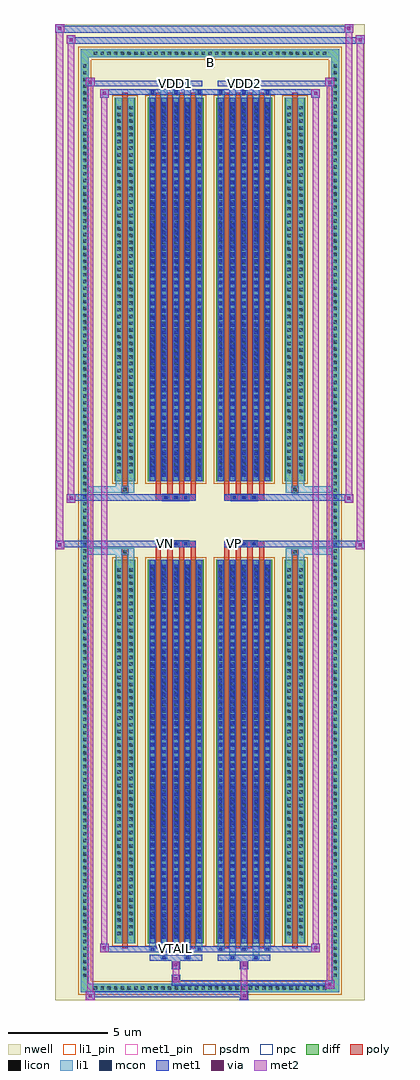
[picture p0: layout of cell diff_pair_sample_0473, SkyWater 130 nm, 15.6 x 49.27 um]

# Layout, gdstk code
import gdstk
lib = gdstk.Library(unit=1e-6, precision=5e-09)
def R(c, l, rs):  # rectangles x0, y0, x1, y1
    for r in rs: c.add(gdstk.rectangle(r[:2], r[2:], *l))
def A(c, l, x, y, w, h, nx, ny, dx, dy):  # array of equal rectangles
    R(c, l, [(x+i*dx, y+j*dy, x+i*dx+w, y+j*dy+h) for i in range(nx) for j in range(ny)])
def P(c, l, *ps):  # polygons
    for p in ps: c.add(gdstk.Polygon(p, *l))
nwell = (64, 20)
diff = (65, 20)
poly = (66, 20)
licon = (66, 44)
li1_pin = (67, 16)
li1 = (67, 20)
mcon = (67, 44)
met1_pin = (68, 16)
met1 = (68, 20)
via = (68, 44)
met2 = (69, 20)
psdm = (94, 20)
npc = (95, 20)

diff_pair_sample_0473 = lib.new_cell('diff_pair_sample_0473')
R(diff_pair_sample_0473, nwell, [(-7.8,-24.2,7.8,25.07), (-5.12,-22.39,-0.01,-0.805), (0.01,-22.39,5.12,-0.805), (-5.12,0.805,-0.01,22.39), (0.01,0.805,5.12,22.39)])
A(diff_pair_sample_0473, diff, -5.985, -23.8, 0.41, 0.41, 35, 2, 0.34, 47.19)
A(diff_pair_sample_0473, diff, -6.53, -23.155, 0.41, 0.41, 1, 136, 0, 0.34)
A(diff_pair_sample_0473, diff, 6.12, -23.155, 0.41, 0.41, 1, 136, 0, 0.34)
R(diff_pair_sample_0473, diff, [(-5.985,-23.8,5.985,-23.39), (-6.53,-23.155,-6.12,23.155), (6.12,-23.155,6.53,23.155), (-4.81,-21.345,-3.77,-1.985), (-3.13,-21.345,-0.32,-1.985), (0.32,-21.345,3.13,-1.985), (3.77,-21.345,4.81,-1.985), (-4.81,1.985,-3.77,21.345), (-3.13,1.985,-0.32,21.345), (0.32,1.985,3.13,21.345), (3.77,1.985,4.81,21.345), (-5.985,23.39,5.985,23.8)])
P(diff_pair_sample_0473, diff, [(6.53,23.8),(-6.53,23.8),(-6.53,-23.39),(-6.12,-23.39),(-6.12,23.39),(6.12,23.39),(6.12,-23.39),(-6.12,-23.39),(-6.53,-23.39),(-6.53,-23.8),(6.53,-23.8)])
A(diff_pair_sample_0473, poly, -2.74, -21.595, 0.26, 19.86, 4, 2, 0.59, 23.33)
A(diff_pair_sample_0473, poly, 0.71, -21.595, 0.26, 19.86, 4, 2, 0.59, 23.33)
A(diff_pair_sample_0473, poly, -2.74, -1.735, 0.26, 0.4, 4, 2, 0.59, 3.07)
A(diff_pair_sample_0473, poly, 0.71, -1.735, 0.26, 0.4, 4, 2, 0.59, 3.07)
A(diff_pair_sample_0473, poly, -2.39, -1.335, 0.33, 0.33, 3, 2, 0.5, 2.34)
A(diff_pair_sample_0473, poly, 1.06, -1.335, 0.33, 0.33, 3, 2, 0.5, 2.34)
R(diff_pair_sample_0473, poly, [(-4.42,-21.595,-4.16,-1.735), (4.16,-21.595,4.42,-1.735), (-4.455,-1.735,-4.125,-1.405), (-4.455,-1.735,-4.125,-1.405), (4.125,-1.735,4.455,-1.405), (4.125,-1.735,4.455,-1.405), (-2.74,-1.335,-0.71,-1.005), (0.71,-1.335,2.74,-1.005), (-2.74,1.005,-0.71,1.335), (0.71,1.005,2.74,1.335), (-4.455,1.405,-4.125,1.735), (-4.455,1.405,-4.125,1.735), (4.125,1.405,4.455,1.735), (4.125,1.405,4.455,1.735), (-4.42,1.735,-4.16,21.595), (4.16,1.735,4.42,21.595)])
A(diff_pair_sample_0473, licon, -5.865, -23.68, 0.17, 0.17, 35, 2, 0.34, 47.19)
A(diff_pair_sample_0473, licon, -6.41, -23.035, 0.17, 0.17, 1, 136, 0, 0.34)
A(diff_pair_sample_0473, licon, 6.24, -23.035, 0.17, 0.17, 1, 136, 0, 0.34)
A(diff_pair_sample_0473, licon, -4.67, -20.93, 0.17, 0.17, 1, 55, 0, 0.34)
A(diff_pair_sample_0473, licon, -4.08, -20.93, 0.17, 0.17, 1, 55, 0, 0.34)
A(diff_pair_sample_0473, licon, -2.99, -20.93, 0.17, 0.17, 5, 55, 0.59, 0.34)
A(diff_pair_sample_0473, licon, 0.46, -20.93, 0.17, 0.17, 5, 55, 0.59, 0.34)
A(diff_pair_sample_0473, licon, 3.91, -20.93, 0.17, 0.17, 1, 55, 0, 0.34)
A(diff_pair_sample_0473, licon, 4.5, -20.93, 0.17, 0.17, 1, 55, 0, 0.34)
A(diff_pair_sample_0473, licon, -2.31, -1.255, 0.17, 0.17, 3, 2, 0.5, 2.34)
A(diff_pair_sample_0473, licon, 1.14, -1.255, 0.17, 0.17, 3, 2, 0.5, 2.34)
A(diff_pair_sample_0473, licon, -4.67, 2.4, 0.17, 0.17, 1, 55, 0, 0.34)
A(diff_pair_sample_0473, licon, -4.08, 2.4, 0.17, 0.17, 1, 55, 0, 0.34)
A(diff_pair_sample_0473, licon, -2.99, 2.4, 0.17, 0.17, 5, 55, 0.59, 0.34)
A(diff_pair_sample_0473, licon, 0.46, 2.4, 0.17, 0.17, 5, 55, 0.59, 0.34)
A(diff_pair_sample_0473, licon, 3.91, 2.4, 0.17, 0.17, 1, 55, 0, 0.34)
A(diff_pair_sample_0473, licon, 4.5, 2.4, 0.17, 0.17, 1, 55, 0, 0.34)
R(diff_pair_sample_0473, licon, [(-4.375,-1.655,-4.205,-1.485), (4.205,-1.655,4.375,-1.485), (-4.375,1.485,-4.205,1.655), (4.205,1.485,4.375,1.655)])
R(diff_pair_sample_0473, li1_pin, [(-0.25,22.89,0.25,23.39)])
A(diff_pair_sample_0473, li1, -5.945, -23.76, 0.33, 0.33, 35, 2, 0.34, 47.19)
A(diff_pair_sample_0473, li1, -6.49, -23.115, 0.33, 0.33, 1, 136, 0, 0.34)
A(diff_pair_sample_0473, li1, 6.16, -23.115, 0.33, 0.33, 1, 136, 0, 0.34)
A(diff_pair_sample_0473, li1, -3.07, -21.72, 0.33, 0.375, 3, 2, 1.18, 43.065)
A(diff_pair_sample_0473, li1, -2.99, -21.72, 0.17, 0.17, 3, 2, 1.18, 43.27)
A(diff_pair_sample_0473, li1, 0.38, -21.72, 0.33, 0.375, 3, 2, 1.18, 43.065)
A(diff_pair_sample_0473, li1, 0.46, -21.72, 0.17, 0.17, 3, 2, 1.18, 43.27)
A(diff_pair_sample_0473, li1, -3.07, -21.345, 0.33, 19.36, 5, 2, 0.59, 23.33)
A(diff_pair_sample_0473, li1, 0.38, -21.345, 0.33, 19.36, 5, 2, 0.59, 23.33)
A(diff_pair_sample_0473, li1, -2.99, -21.11, 0.17, 0.17, 5, 53, 0.59, 0.36)
A(diff_pair_sample_0473, li1, -2.99, -21.11, 0.17, 18.89, 5, 2, 0.59, 23.33)
A(diff_pair_sample_0473, li1, 0.46, -21.11, 0.17, 0.17, 5, 53, 0.59, 0.36)
A(diff_pair_sample_0473, li1, 0.46, -21.11, 0.17, 18.89, 5, 2, 0.59, 23.33)
A(diff_pair_sample_0473, li1, -4.75, -21.01, 0.33, 0.33, 1, 55, 0, 0.34)
A(diff_pair_sample_0473, li1, -4.16, -21.01, 0.33, 0.33, 1, 55, 0, 0.34)
A(diff_pair_sample_0473, li1, -3.07, -21.01, 0.33, 0.33, 5, 55, 0.59, 0.34)
A(diff_pair_sample_0473, li1, 0.38, -21.01, 0.33, 0.33, 5, 55, 0.59, 0.34)
A(diff_pair_sample_0473, li1, 3.83, -21.01, 0.33, 0.33, 1, 55, 0, 0.34)
A(diff_pair_sample_0473, li1, 4.42, -21.01, 0.33, 0.33, 1, 55, 0, 0.34)
A(diff_pair_sample_0473, li1, -2.39, -1.335, 0.33, 0.33, 3, 2, 0.5, 2.34)
A(diff_pair_sample_0473, li1, 1.06, -1.335, 0.33, 0.33, 3, 2, 0.5, 2.34)
A(diff_pair_sample_0473, li1, -2.99, 2.22, 0.17, 0.17, 5, 53, 0.59, 0.36)
A(diff_pair_sample_0473, li1, 0.46, 2.22, 0.17, 0.17, 5, 53, 0.59, 0.36)
A(diff_pair_sample_0473, li1, -4.75, 2.32, 0.33, 0.33, 1, 55, 0, 0.34)
A(diff_pair_sample_0473, li1, -4.16, 2.32, 0.33, 0.33, 1, 55, 0, 0.34)
A(diff_pair_sample_0473, li1, -3.07, 2.32, 0.33, 0.33, 5, 55, 0.59, 0.34)
A(diff_pair_sample_0473, li1, 0.38, 2.32, 0.33, 0.33, 5, 55, 0.59, 0.34)
A(diff_pair_sample_0473, li1, 3.83, 2.32, 0.33, 0.33, 1, 55, 0, 0.34)
A(diff_pair_sample_0473, li1, 4.42, 2.32, 0.33, 0.33, 1, 55, 0, 0.34)
R(diff_pair_sample_0473, li1, [(-6.53,-23.8,-6.12,-23.39), (-6.53,-23.8,-6.12,-23.39), (-6.12,-23.8,6.12,-23.39), (6.12,-23.8,6.53,-23.39), (6.12,-23.8,6.53,-23.39), (-6.53,-23.39,-6.12,23.39), (6.12,-23.39,6.53,23.39), (-2.48,-22.15,-2.15,-21.345), (-2.4,-22.15,-2.23,-21.98), (-1.3,-22.15,-0.97,-21.345), (-1.22,-22.15,-1.05,-21.98), (0.97,-22.15,1.3,-21.345), (1.05,-22.15,1.22,-21.98), (2.15,-22.15,2.48,-21.345), (2.23,-22.15,2.4,-21.98), (-4.75,-21.345,-4.42,-1.985), (-4.16,-21.345,-3.83,-1.985), (3.83,-21.345,4.16,-1.985), (4.42,-21.345,4.75,-1.985), (-4.75,-1.985,-4.42,-1.405), (-4.16,-1.985,-3.83,-1.405), (3.83,-1.985,4.16,-1.405), (4.42,-1.985,4.75,-1.405), (-6.53,-1.735,-4.455,-1.405), (-4.75,-1.735,-4.455,-1.405), (-4.455,-1.735,-4.125,-1.405), (-4.125,-1.735,-3.83,-1.405), (3.83,-1.735,4.125,-1.405), (4.125,-1.735,4.455,-1.405), (4.125,-1.735,6.53,-1.405), (4.455,-1.735,4.75,-1.405), (-6.53,1.405,-4.455,1.735), (-4.75,1.405,-4.455,1.735), (-4.75,1.405,-4.42,1.985), (-4.455,1.405,-4.125,1.735), (-4.16,1.405,-3.83,1.985), (-4.125,1.405,-3.83,1.735), (3.83,1.405,4.125,1.735), (3.83,1.405,4.16,1.985), (4.125,1.405,4.455,1.735), (4.125,1.405,6.53,1.735), (4.42,1.405,4.75,1.985), (4.455,1.405,4.75,1.735), (-4.75,1.985,-4.42,21.345), (-4.16,1.985,-3.83,21.345), (3.83,1.985,4.16,21.345), (4.42,1.985,4.75,21.345), (-2.48,21.345,-2.15,22.15), (-1.3,21.345,-0.97,22.15), (0.97,21.345,1.3,22.15), (2.15,21.345,2.48,22.15), (-2.4,21.98,-2.23,22.15), (-1.22,21.98,-1.05,22.15), (1.05,21.98,1.22,22.15), (2.23,21.98,2.4,22.15), (-6.53,23.39,-6.12,23.8), (-6.53,23.39,-6.12,23.8), (-6.12,23.39,6.12,23.8), (6.12,23.39,6.53,23.8), (6.12,23.39,6.53,23.8)])
A(diff_pair_sample_0473, mcon, -2.99, -21.72, 0.17, 0.17, 3, 2, 1.18, 43.27)
A(diff_pair_sample_0473, mcon, 0.46, -21.72, 0.17, 0.17, 3, 2, 1.18, 43.27)
A(diff_pair_sample_0473, mcon, -2.99, -21.11, 0.17, 0.17, 5, 53, 0.59, 0.36)
A(diff_pair_sample_0473, mcon, 0.46, -21.11, 0.17, 0.17, 5, 53, 0.59, 0.36)
A(diff_pair_sample_0473, mcon, -2.31, -1.255, 0.17, 0.17, 3, 2, 0.5, 2.34)
A(diff_pair_sample_0473, mcon, 1.14, -1.255, 0.17, 0.17, 3, 2, 0.5, 2.34)
A(diff_pair_sample_0473, mcon, -2.99, 2.22, 0.17, 0.17, 5, 53, 0.59, 0.36)
A(diff_pair_sample_0473, mcon, 0.46, 2.22, 0.17, 0.17, 5, 53, 0.59, 0.36)
R(diff_pair_sample_0473, mcon, [(-2.4,-22.15,-2.23,-21.98), (-1.22,-22.15,-1.05,-21.98), (1.05,-22.15,1.22,-21.98), (2.23,-22.15,2.4,-21.98), (-2.4,21.98,-2.23,22.15), (-1.22,21.98,-1.05,22.15), (1.05,21.98,1.22,22.15), (2.23,21.98,2.4,22.15)])
R(diff_pair_sample_0473, met1_pin, [(-1.86,-21.76,-1.59,-21.49), (-2.36,-1.295,-2.09,-1.025), (1.09,-1.295,1.36,-1.025), (-1.86,21.94,-1.59,22.21), (1.59,21.94,1.86,22.21)])
A(diff_pair_sample_0473, met1, -3.05, -21.78, 0.29, 0.29, 3, 2, 1.18, 43.27)
A(diff_pair_sample_0473, met1, 0.4, -21.78, 0.29, 0.29, 3, 2, 1.18, 43.27)
A(diff_pair_sample_0473, met1, -3.05, -21.345, 0.29, 19.36, 5, 2, 0.59, 23.33)
A(diff_pair_sample_0473, met1, 0.4, -21.345, 0.29, 19.36, 5, 2, 0.59, 23.33)
A(diff_pair_sample_0473, met1, -3.05, -21.17, 0.29, 0.29, 5, 53, 0.59, 0.36)
A(diff_pair_sample_0473, met1, 0.4, -21.17, 0.29, 0.29, 5, 53, 0.59, 0.36)
A(diff_pair_sample_0473, met1, -2.37, -1.315, 0.29, 0.29, 3, 2, 0.5, 2.34)
A(diff_pair_sample_0473, met1, 1.08, -1.315, 0.29, 0.29, 3, 2, 0.5, 2.34)
A(diff_pair_sample_0473, met1, -3.05, 2.16, 0.29, 0.29, 5, 53, 0.59, 0.36)
A(diff_pair_sample_0473, met1, 0.4, 2.16, 0.29, 0.29, 5, 53, 0.59, 0.36)
R(diff_pair_sample_0473, met1, [(-6.26,-24.2,-5.83,-23.77), (1.51,-24.2,1.94,-23.77), (-6.26,-24.06,1.94,-23.77), (5.83,-23.63,6.26,-23.2), (-1.94,-23.49,6.26,-23.2), (-1.94,-23.35,-1.51,-22.92), (-1.94,-22.64,-1.51,-22.21), (1.51,-22.64,1.94,-22.21), (-3.05,-22.21,-0.4,-21.92), (-2.46,-22.21,-2.17,-21.92), (-1.28,-22.21,-0.99,-21.92), (0.4,-22.21,3.05,-21.92), (0.99,-22.21,1.28,-21.92), (2.17,-22.21,2.46,-21.92), (-5.55,-21.78,-5.12,-21.35), (-5.55,-21.78,-3.05,-21.49), (-3.05,-21.78,-0.4,-21.49), (-0.4,-21.78,0.4,-21.49), (0.4,-21.78,3.05,-21.49), (3.05,-21.78,5.55,-21.49), (5.12,-21.78,5.55,-21.35), (-7.8,-1.435,-7.37,-1.005), (7.37,-1.435,7.8,-1.005), (-7.8,-1.335,-0.71,-1.005), (-2.74,-1.335,-0.71,-1.005), (0.71,-1.335,2.74,-1.005), (0.71,-1.335,7.8,-1.005), (-7.23,0.905,-6.8,1.335), (6.8,0.905,7.23,1.335), (-7.23,1.005,-2.74,1.335), (-2.74,1.005,-0.71,1.335), (0.71,1.005,2.74,1.335), (2.74,1.005,7.23,1.335), (-5.55,21.35,-5.12,21.78), (5.12,21.35,5.55,21.78), (-5.55,21.49,-3.05,21.78), (-3.05,21.49,-0.4,21.78), (-0.4,21.49,0.4,21.78), (0.4,21.49,3.05,21.78), (3.05,21.49,5.55,21.78), (-6.26,21.92,-5.83,22.35), (-6.26,21.92,-3.05,22.21), (-3.05,21.92,-0.4,22.21), (-2.46,21.92,-2.17,22.21), (-1.28,21.92,-0.99,22.21), (0.4,21.92,3.05,22.21), (0.99,21.92,1.28,22.21), (2.17,21.92,2.46,22.21), (3.05,21.92,6.26,22.21), (5.83,21.92,6.26,22.35), (-7.23,24.07,-6.8,24.5), (-7.23,24.07,-5.12,24.4), (-5.12,24.07,5.12,24.4), (5.12,24.07,7.8,24.4), (7.37,24.07,7.8,24.5), (-7.8,24.64,-7.37,25.07), (-7.8,24.64,-5.12,24.97), (-5.12,24.64,5.12,24.97), (5.12,24.64,7.23,24.97), (6.8,24.64,7.23,25.07)])
R(diff_pair_sample_0473, via, [(-6.12,-24.06,-5.97,-23.91), (1.65,-24.06,1.8,-23.91), (5.97,-23.49,6.12,-23.34), (-1.8,-23.21,-1.65,-23.06), (-1.8,-22.5,-1.65,-22.35), (1.65,-22.5,1.8,-22.35), (-5.41,-21.64,-5.26,-21.49), (5.26,-21.64,5.41,-21.49), (-7.66,-1.295,-7.51,-1.145), (7.51,-1.295,7.66,-1.145), (-7.09,1.045,-6.94,1.195), (6.94,1.045,7.09,1.195), (-5.41,21.49,-5.26,21.64), (5.26,21.49,5.41,21.64), (-6.12,22.06,-5.97,22.21), (5.97,22.06,6.12,22.21), (-7.09,24.21,-6.94,24.36), (7.51,24.21,7.66,24.36), (-7.66,24.78,-7.51,24.93), (6.94,24.78,7.09,24.93)])
R(diff_pair_sample_0473, met2, [(-6.26,-24.2,-5.83,-23.77), (-6.19,-24.2,-5.9,22.35), (-5.9,-24.2,-5.83,-23.77), (-6.21,-24.15,-5.88,-23.82), (1.56,-24.15,1.89,-23.82), (1.56,-23.82,1.89,-22.59), (5.83,-23.63,6.26,-23.2), (5.9,-23.63,6.19,22.35), (6.19,-23.63,6.26,-23.2), (5.88,-23.58,6.21,-23.25), (-1.89,-23.3,-1.56,-22.97), (-1.89,-22.97,-1.56,-22.59), (-1.89,-22.59,-1.56,-22.26), (1.56,-22.59,1.89,-22.26), (-5.55,-21.78,-5.12,-21.35), (-5.48,-21.78,-5.19,21.78), (-5.19,-21.78,-5.12,-21.35), (5.12,-21.78,5.55,-21.35), (5.19,-21.78,5.48,21.78), (5.48,-21.78,5.55,-21.35), (-5.5,-21.73,-5.17,-21.4), (5.17,-21.73,5.5,-21.4), (-7.8,-1.435,-7.37,-1.005), (-7.75,-1.435,-7.42,25.07), (-7.42,-1.435,-7.37,-1.005), (7.37,-1.435,7.8,-1.005), (7.42,-1.435,7.75,24.5), (7.75,-1.435,7.8,-1.005), (-7.75,-1.385,-7.42,-1.055), (7.42,-1.385,7.75,-1.055), (-7.23,0.905,-6.8,1.335), (-7.18,0.905,-6.85,24.5), (-6.85,0.905,-6.8,1.335), (6.8,0.905,7.23,1.335), (6.85,0.905,7.18,25.07), (7.18,0.905,7.23,1.335), (-7.18,0.955,-6.85,1.285), (6.85,0.955,7.18,1.285), (-5.55,21.35,-5.12,21.78), (-5.19,21.35,-5.12,21.78), (5.12,21.35,5.55,21.78), (5.48,21.35,5.55,21.78), (-5.5,21.4,-5.17,21.73), (5.17,21.4,5.5,21.73), (-6.26,21.92,-5.83,22.35), (-5.9,21.92,-5.83,22.35), (5.83,21.92,6.26,22.35), (6.19,21.92,6.26,22.35), (-6.21,21.97,-5.88,22.3), (5.88,21.97,6.21,22.3), (-7.23,24.07,-6.8,24.5), (-6.85,24.07,-6.8,24.5), (7.37,24.07,7.8,24.5), (7.75,24.07,7.8,24.5), (-7.18,24.12,-6.85,24.45), (7.42,24.12,7.75,24.45), (-7.8,24.64,-7.37,25.07), (-7.42,24.64,-7.37,25.07), (6.8,24.64,7.23,25.07), (7.18,24.64,7.23,25.07), (-7.75,24.69,-7.42,25.02), (6.85,24.69,7.18,25.02)])
R(diff_pair_sample_0473, psdm, [(-4.94,-21.475,-3.64,-1.855), (-3.26,-21.475,-0.19,-1.855), (0.19,-21.475,3.26,-1.855), (3.64,-21.475,4.94,-1.855), (-4.94,1.855,-3.64,21.475), (-3.26,1.855,-0.19,21.475), (0.19,1.855,3.26,21.475), (3.64,1.855,4.94,21.475)])
P(diff_pair_sample_0473, psdm, [(6.66,23.93),(-6.66,23.93),(-6.66,-23.26),(-5.99,-23.26),(-5.99,23.26),(5.99,23.26),(5.99,-23.26),(-5.99,-23.26),(-6.66,-23.26),(-6.66,-23.93),(6.66,-23.93)])
A(diff_pair_sample_0473, npc, -2.41, -1.355, 0.37, 0.37, 3, 2, 0.5, 2.34)
A(diff_pair_sample_0473, npc, 1.04, -1.355, 0.37, 0.37, 3, 2, 0.5, 2.34)
R(diff_pair_sample_0473, npc, [(-4.475,-1.755,-4.105,-1.385), (4.105,-1.755,4.475,-1.385), (-2.41,-1.355,-1.54,-0.985), (-2.41,-1.355,-1.54,-0.985), (-1.91,-1.355,-1.04,-0.985), (-1.91,-1.355,-1.04,-0.985), (1.04,-1.355,1.91,-0.985), (1.04,-1.355,1.91,-0.985), (1.54,-1.355,2.41,-0.985), (1.54,-1.355,2.41,-0.985), (-2.41,0.985,-1.54,1.355), (-2.41,0.985,-1.54,1.355), (-1.91,0.985,-1.04,1.355), (-1.91,0.985,-1.04,1.355), (1.04,0.985,1.91,1.355), (1.04,0.985,1.91,1.355), (1.54,0.985,2.41,1.355), (1.54,0.985,2.41,1.355), (-4.475,1.385,-4.105,1.755), (4.105,1.385,4.475,1.755)])
diff_pair_sample_0473.add(gdstk.Label('VTAIL', (-1.725,-21.625), layer=68, texttype=5))
diff_pair_sample_0473.add(gdstk.Label('VN', (-2.225,-1.16), layer=68, texttype=5))
diff_pair_sample_0473.add(gdstk.Label('VP', (1.225,-1.16), layer=68, texttype=5))
diff_pair_sample_0473.add(gdstk.Label('B', (0,23.14), layer=67, texttype=5))
diff_pair_sample_0473.add(gdstk.Label('VDD2', (1.725,22.075), layer=68, texttype=5))
diff_pair_sample_0473.add(gdstk.Label('VDD1', (-1.725,22.075), layer=68, texttype=5))

lib.write_gds('diff_pair_sample_0473.gds')
